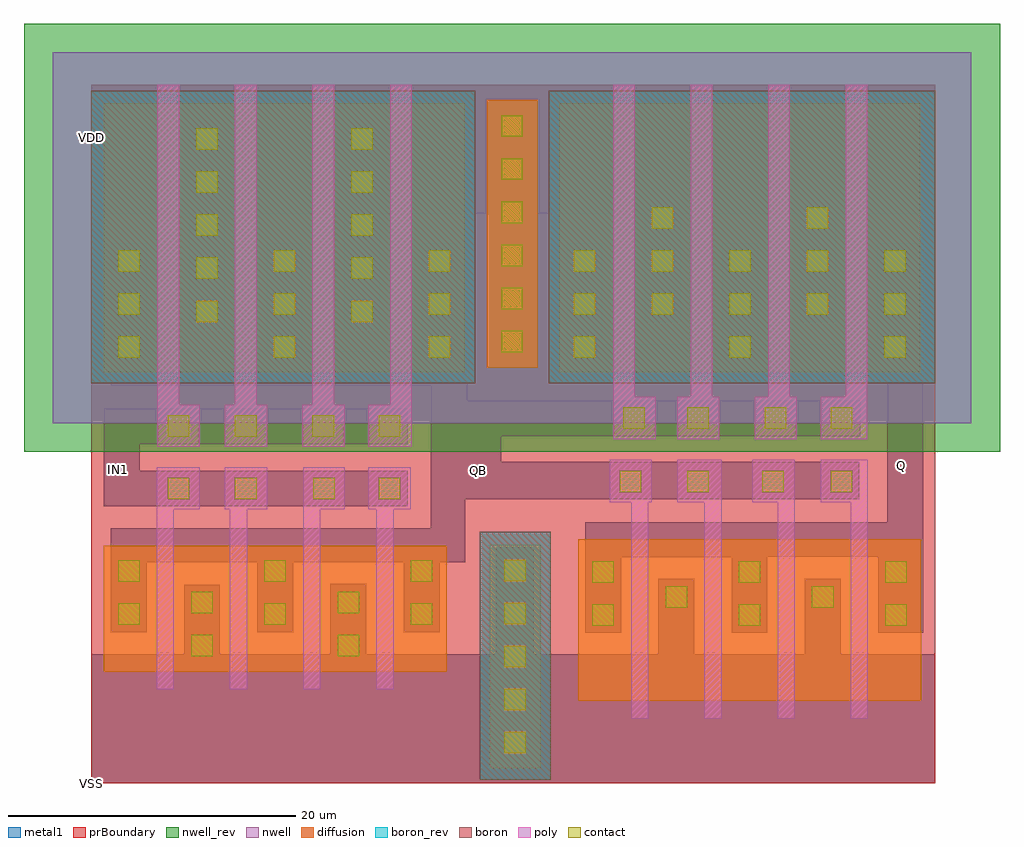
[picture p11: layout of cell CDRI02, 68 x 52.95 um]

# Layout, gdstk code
import gdstk
lib = gdstk.Library(unit=1e-6, precision=1e-09)
def R(c, l, rs):  # rectangles x0, y0, x1, y1
    for r in rs: c.add(gdstk.rectangle(r[:2], r[2:], *l))
def A(c, l, x, y, w, h, nx, ny, dx, dy):  # array of equal rectangles
    R(c, l, [(x+i*dx, y+j*dy, x+i*dx+w, y+j*dy+h) for i in range(nx) for j in range(ny)])
def P(c, l, *ps):  # polygons
    for p in ps: c.add(gdstk.Polygon(p, *l))
nwell = (1, 0)
diffusion = (2, 0)
nwell_rev = (3, 0)
poly = (4, 0)
boron = (5, 0)
boron_rev = (6, 0)
contact = (7, 0)
metal1 = (8, 0)
prBoundary = (28, 0)

cdri02 = lib.new_cell('CDRI02')
R(cdri02, nwell, [(-2.7,25.1,61.3,50.95)])
R(cdri02, diffusion, [(27.75,1.05,31.3,16.65), (33.9,5.75,57.8,17), (0.85,7.8,24.75,16.55), (0.85,28.65,26,47.4), (32.6,28.65,57.75,47.4), (27.55,28.95,31.1,47.65)])
R(cdri02, nwell_rev, [(-4.7,23.1,63.3,52.95)])
P(cdri02, poly, [(4.6,23.45),(4.6,48.7),(6.1,48.7),(6.1,26.4),(7.55,26.4),(7.55,23.45)],
  [(46.2,24),(46.2,26.95),(47.15,26.95),(47.15,48.7),(48.65,48.7),(48.65,26.95),(49.15,26.95),(49.15,24)],
  [(50.8,24),(50.8,26.95),(52.55,26.95),(52.55,48.7),(54.05,48.7),(54.05,24)],
  [(52.9,4.5),(52.9,19.6),(50.8,19.6),(50.8,22.55),(54.1,22.55),(54.1,4.5)],
  [(42.7,4.5),(42.7,19.6),(40.8,19.6),(40.8,22.55),(43.9,22.55),(43.9,4.5)],
  [(47.8,4.5),(47.8,19.6),(46.05,19.6),(46.05,22.55),(49,22.55),(49,4.5)],
  [(37.6,4.5),(37.6,19.6),(36.1,19.6),(36.1,22.55),(39.05,22.55),(39.05,19.6),(38.8,19.6),(38.8,4.5)],
  [(40.8,24),(40.8,26.95),(41.75,26.95),(41.75,48.7),(43.25,48.7),(43.25,26.95),(43.75,26.95),(43.75,24)],
  [(36.35,24),(36.35,48.7),(37.85,48.7),(37.85,26.95),(39.3,26.95),(39.3,24)],
  [(14.75,6.55),(14.75,22.05),(17.65,22.05),(17.65,19.1),(15.95,19.1),(15.95,6.55)],
  [(9.65,6.55),(9.65,19.1),(9.3,19.1),(9.3,22.05),(12.25,22.05),(12.25,19.1),(10.85,19.1),(10.85,6.55)],
  [(4.55,6.55),(4.55,22.05),(7.55,22.05),(7.55,19.1),(5.75,19.1),(5.75,6.55)],
  [(19.85,6.55),(19.85,19.1),(19.3,19.1),(19.3,22.05),(22.25,22.05),(22.25,19.1),(21.05,19.1),(21.05,6.55)],
  [(14.7,23.45),(14.7,26.4),(15.4,26.4),(15.4,48.7),(16.9,48.7),(16.9,26.4),(17.65,26.4),(17.65,23.45)],
  [(19.3,23.45),(19.3,26.4),(20.8,26.4),(20.8,48.7),(22.3,48.7),(22.3,23.5),(22.25,23.5),(22.25,23.45)],
  [(9.3,23.45),(9.3,26.4),(10,26.4),(10,48.7),(11.5,48.7),(11.5,26.4),(12.25,26.4),(12.25,23.45)])
R(cdri02, boron, [(27.05,0.25,32,17.55), (0,27.9,26.75,48.25), (31.85,27.9,58.8,48.25)])
R(cdri02, boron_rev, [(27.05,0.25,32,17.55), (0,27.9,26.75,48.25), (31.85,27.9,58.8,48.25)])
A(cdri02, contact, 28.75, 2.1, 1.5, 1.5, 1, 5, 0, 3)
A(cdri02, contact, 34.9, 11, 1.5, 1.5, 3, 2, 10.2, 3)
A(cdri02, contact, 1.85, 11.05, 1.5, 1.5, 3, 2, 10.2, 3)
A(cdri02, contact, 1.85, 29.65, 1.5, 1.5, 1, 3, 0, 3)
A(cdri02, contact, 12.7, 29.65, 1.5, 1.5, 1, 3, 0, 3)
A(cdri02, contact, 23.5, 29.65, 1.5, 1.5, 1, 3, 0, 3)
A(cdri02, contact, 33.6, 29.65, 1.5, 1.5, 1, 3, 0, 3)
A(cdri02, contact, 28.55, 30.05, 1.5, 1.5, 1, 6, 0, 3)
A(cdri02, contact, 7.3, 32.15, 1.5, 1.5, 1, 5, 0, 3)
A(cdri02, contact, 18.1, 32.15, 1.5, 1.5, 1, 5, 0, 3)
A(cdri02, contact, 39.05, 32.65, 1.5, 1.5, 4, 2, 5.4, 3)
R(cdri02, contact, [(6.95,8.85,8.45,10.35), (17.15,8.85,18.65,10.35), (6.95,11.85,8.45,13.35), (17.15,11.85,18.65,13.35), (40,12.25,41.5,13.75), (50.2,12.25,51.7,13.75), (5.3,19.8,6.8,21.3), (10,19.8,11.5,21.3), (15.45,19.8,16.95,21.3), (20,19.8,21.5,21.3), (36.8,20.3,38.3,21.8), (41.5,20.3,43,21.8), (46.75,20.3,48.25,21.8), (51.5,20.3,53,21.8), (5.3,24.15,6.8,25.65), (10,24.15,11.5,25.65), (15.4,24.15,16.9,25.65), (20,24.15,21.5,25.65), (37.05,24.7,38.55,26.2), (41.5,24.7,43,26.2), (46.9,24.7,48.4,26.2), (51.5,24.7,53,26.2), (44.45,29.65,45.95,31.15), (55.25,29.65,56.75,31.15), (39.05,38.65,40.55,40.15), (49.85,38.65,51.35,40.15)])
R(cdri02, metal1, [(0,0,58.8,9), (28.2,6.5,30.8,16.45), (55.45,10.5,57.95,37.65), (0.85,19.3,22.05,21.8), (0.85,19.3,3.35,24.85), (0.85,21,3.35,23.5), (26.05,21,28.55,23.5), (55.45,21,57.95,23.5), (0.85,23.65,22.05,26.15), (28,29.4,30.6,41.6), (0,39.7,58.8,48.7)])
P(cdri02, metal1, [(1.35,10.55),(1.35,17.8),(23.65,17.8),(23.65,27.7),(1.35,27.7),(1.35,37.65),(3.85,37.65),(3.85,30.15),(12.2,30.15),(12.2,37.65),(14.7,37.65),(14.7,30.1),(23,30.1),(23,37.65),(25.5,37.65),(25.5,30.25),(26.2,30.25),(26.2,26.7),(53.55,26.7),(53.55,24.2),(28.55,24.2),(28.55,22.4),(53.5,22.4),(53.5,19.8),(26.05,19.8),(26.05,15.4),(24.25,15.4),(24.25,10.55),(21.75,10.55),(21.75,15.4),(14.05,15.4),(14.05,10.55),(11.55,10.55),(11.55,15.4),(3.85,15.4),(3.85,10.55)],
  [(33.1,28.2),(33.1,37.65),(35.6,37.65),(35.6,30.6),(43.95,30.6),(43.95,37.65),(46.45,37.65),(46.45,30.6),(54.75,30.6),(54.75,37.65),(57.25,37.65),(57.25,28.2)],
  [(34.4,10.5),(34.4,18.2),(57.3,18.2),(57.3,10.5),(54.8,10.5),(54.8,15.8),(47.1,15.8),(47.1,10.5),(44.6,10.5),(44.6,15.75),(36.9,15.75),(36.9,10.5)],
  [(6.8,31.65),(6.8,39.7),(0,39.7),(0,48.7),(58.8,48.7),(58.8,39.7),(51.85,39.7),(51.85,32.15),(49.35,32.15),(49.35,39.7),(41.05,39.7),(41.05,32.15),(38.55,32.15),(38.55,39.7),(20.1,39.7),(20.1,31.65),(17.6,31.65),(17.6,39.7),(9.3,39.7),(9.3,31.65)],
  [(0,0),(0,9),(6.45,9),(6.45,13.85),(8.95,13.85),(8.95,9),(16.65,9),(16.65,13.9),(19.15,13.9),(19.15,9),(39.5,9),(39.5,14.25),(42,14.25),(42,9),(49.7,9),(49.7,14.25),(52.2,14.25),(52.2,9),(58.8,9),(58.8,0)])
R(cdri02, prBoundary, [(0,0,58.8,48.7)])
cdri02.add(gdstk.Label('VSS', (0.001,0.001), layer=8, texttype=7))
cdri02.add(gdstk.Label('VDD', (0.002,45), layer=8, texttype=7))
cdri02.add(gdstk.Label('QB', (26.95,21.8), layer=8, texttype=7))
cdri02.add(gdstk.Label('Q', (56.45,22.15), layer=8, texttype=7))
cdri02.add(gdstk.Label('IN1', (1.85,21.9), layer=8, texttype=7))

lib.write_gds('CDRI02.gds')
